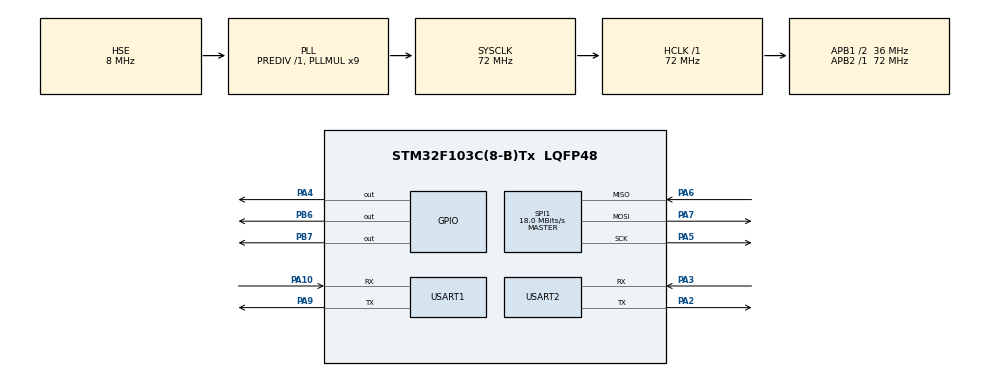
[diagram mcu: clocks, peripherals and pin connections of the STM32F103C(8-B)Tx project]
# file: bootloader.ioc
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Dma.Request0=USART2_RX
Dma.Request1=USART2_TX
Dma.Request2=USART1_RX
Dma.Request3=USART1_TX
Dma.USART1_RX.2.Direction=DMA_PERIPH_TO_MEMORY
Dma.USART1_RX.2.Instance=DMA1_Channel5
Dma.USART1_RX.2.MemDataAlignment=DMA_MDATAALIGN_BYTE
Dma.USART1_RX.2.MemInc=DMA_MINC_ENABLE
Dma.USART1_RX.2.Mode=DMA_CIRCULAR
Dma.USART1_RX.2.PeriphDataAlignment=DMA_PDATAALIGN_BYTE
Dma.USART1_RX.2.PeriphInc=DMA_PINC_DISABLE
Dma.USART1_RX.2.Priority=DMA_PRIORITY_LOW
Dma.USART1_TX.3.Direction=DMA_MEMORY_TO_PERIPH
Dma.USART1_TX.3.Instance=DMA1_Channel4
Dma.USART1_TX.3.MemDataAlignment=DMA_MDATAALIGN_BYTE
Dma.USART1_TX.3.MemInc=DMA_MINC_ENABLE
Dma.USART1_TX.3.Mode=DMA_NORMAL
Dma.USART1_TX.3.PeriphDataAlignment=DMA_PDATAALIGN_BYTE
Dma.USART1_TX.3.PeriphInc=DMA_PINC_DISABLE
Dma.USART1_TX.3.Priority=DMA_PRIORITY_LOW
Dma.USART2_RX.0.Direction=DMA_PERIPH_TO_MEMORY
Dma.USART2_RX.0.Instance=DMA1_Channel6
Dma.USART2_RX.0.MemDataAlignment=DMA_MDATAALIGN_BYTE
Dma.USART2_RX.0.MemInc=DMA_MINC_ENABLE
Dma.USART2_RX.0.Mode=DMA_CIRCULAR
Dma.USART2_RX.0.PeriphDataAlignment=DMA_PDATAALIGN_BYTE
Dma.USART2_RX.0.PeriphInc=DMA_PINC_DISABLE
Dma.USART2_RX.0.Priority=DMA_PRIORITY_LOW
Dma.USART2_TX.1.Direction=DMA_MEMORY_TO_PERIPH
Dma.USART2_TX.1.Instance=DMA1_Channel7
Dma.USART2_TX.1.MemDataAlignment=DMA_MDATAALIGN_BYTE
Dma.USART2_TX.1.MemInc=DMA_MINC_ENABLE
Dma.USART2_TX.1.Mode=DMA_NORMAL
Dma.USART2_TX.1.PeriphDataAlignment=DMA_PDATAALIGN_BYTE
Dma.USART2_TX.1.PeriphInc=DMA_PINC_DISABLE
Dma.USART2_TX.1.Priority=DMA_PRIORITY_LOW
Mcu.Family=STM32F1
Mcu.Name=STM32F103C(8-B)Tx
Mcu.Package=LQFP48
NVIC.DMA1_Channel4_IRQn=true\:0\:0\:false\:false\:true\:false\:true\:true
NVIC.DMA1_Channel5_IRQn=true\:0\:0\:false\:false\:true\:false\:true\:true
NVIC.DMA1_Channel6_IRQn=true\:0\:0\:false\:false\:true\:false\:true\:true
NVIC.DMA1_Channel7_IRQn=true\:0\:0\:false\:false\:true\:false\:true\:true
NVIC.PriorityGroup=NVIC_PRIORITYGROUP_4
NVIC.SPI1_IRQn=true\:0\:0\:false\:false\:true\:true\:true\:true
NVIC.USART1_IRQn=true\:0\:0\:false\:false\:true\:true\:true\:true
NVIC.USART2_IRQn=true\:0\:0\:false\:false\:true\:false\:true\:true
PA10.Mode=Asynchronous
PA10.Signal=USART1_RX
PA13.Mode=Serial_Wire
PA13.Signal=SYS_JTMS-SWDIO
PA14.Mode=Serial_Wire
PA14.Signal=SYS_JTCK-SWCLK
PA2.Mode=Asynchronous
PA2.Signal=USART2_TX
PA3.Mode=Asynchronous
PA3.Signal=USART2_RX
PA4.Signal=GPIO_Output
PA5.Mode=Full_Duplex_Master
PA5.Signal=SPI1_SCK
PA6.Mode=Full_Duplex_Master
PA6.Signal=SPI1_MISO
PA7.Mode=Full_Duplex_Master
PA7.Signal=SPI1_MOSI
PA9.Mode=Asynchronous
PA9.Signal=USART1_TX
PB6.GPIO_ModeDefaultOutputPP=GPIO_MODE_OUTPUT_OD
PB6.GPIO_PuPd=GPIO_PULLUP
PB6.Signal=GPIO_Output
PB7.GPIO_ModeDefaultOutputPP=GPIO_MODE_OUTPUT_OD
PB7.GPIO_PuPd=GPIO_PULLUP
PB7.Signal=GPIO_Output
PD0-OSC_IN.Mode=HSE-External-Oscillator
PD0-OSC_IN.Signal=RCC_OSC_IN
PD1-OSC_OUT.Mode=HSE-External-Oscillator
PD1-OSC_OUT.Signal=RCC_OSC_OUT
ProjectManager.HeapSize=0x200
ProjectManager.StackSize=0x400
ProjectManager.TargetToolchain=CMake
RCC.AHBFreq_Value=72000000
RCC.APB1CLKDivider=RCC_HCLK_DIV2
RCC.APB1Freq_Value=36000000
RCC.APB1TimFreq_Value=72000000
RCC.APB2Freq_Value=72000000
RCC.APB2TimFreq_Value=72000000
RCC.HCLKFreq_Value=72000000
RCC.PLLMUL=RCC_PLL_MUL9
RCC.PLLSourceVirtual=RCC_PLLSOURCE_HSE
RCC.SYSCLKFreq_VALUE=72000000
RCC.SYSCLKSource=RCC_SYSCLKSOURCE_PLLCLK
RCC.USBFreq_Value=48000000
RCC.USBPrescaler=RCC_USBCLKSOURCE_PLL_DIV1_5
SPI1.BaudRatePrescaler=SPI_BAUDRATEPRESCALER_4
SPI1.CalculateBaudRate=18.0 MBits/s
SPI1.Direction=SPI_DIRECTION_2LINES
SPI1.Mode=SPI_MODE_MASTER
SPI1.VirtualType=VM_MASTER
USART1.VirtualMode=VM_ASYNC
USART2.VirtualMode=VM_ASYNC
board=custom

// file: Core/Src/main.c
/* USER CODE BEGIN Header */
/**
  ******************************************************************************
  * @file           : main.c
  * @brief          : Main program body
  ******************************************************************************
  * @attention
  *
  * Copyright (c) 2026 STMicroelectronics.
  * All rights reserved.
  *
  * This software is licensed under terms that can be found in the LICENSE file
  * in the root directory of this software component.
  * If no LICENSE file comes with this software, it is provided AS-IS.
  *
  ******************************************************************************
  */
/* USER CODE END Header */
#include "main.h"
#include "dma.h"
#include "spi.h"
#include "usart.h"
#include "gpio.h"

/* USER CODE BEGIN Includes */
#include "delay.h"
#include "iic.h"
#include "at24c02.h"
#include "w25q64.h"
#include "fmc.h"
#include "boot.h"

#include <string.h>
#include <stdint.h>
/* USER CODE END Includes */

/* USER CODE BEGIN PD */
extern DMA_HandleTypeDef hdma_usart1_rx;
extern DMA_HandleTypeDef hdma_usart2_rx;
extern uint8_t UART1_RX_BUF[UART_RX_SIZE];
extern uint8_t UART2_RX_BUF[UART_RX_SIZE];
/* USER CODE END PD */

/* USER CODE BEGIN PV */
OTA_Setting OTA_Info;
Update_Setting Update_Info;
uint32_t Boot_Flag;
/* USER CODE END PV */

void SystemClock_Config(void);

int main(void)
{

  /* MCU Configuration--------------------------------------------------------*/

  /* Reset of all peripherals, Initializes the Flash interface and the Systick. */
  HAL_Init();

  /* Configure the system clock */
  SystemClock_Config();

  /* Initialize all configured peripherals */
  MX_GPIO_Init();
  MX_DMA_Init();
  MX_USART2_UART_Init();
  MX_SPI1_Init();
  MX_USART1_UART_Init();
  /* USER CODE BEGIN 2 */
  DWT_Init();
  UART_RX_PtrInit();
  IIC_Init();
  W25Q64_Init();
  /* 从 AT24C02 读取 OTA 标志、版本号和各文件大小。 */
  AT24C02_Read_OTASetting();
  if (OTA_Info.OTA_Flag == 0xFFFFFFFFU)
  {
    /* EEPROM 处于擦除态时写入初始版本号，后续启动不再覆盖用户版本。 */
    memset(&OTA_Info, 0, OTA_SETTING_SIZE);
    memcpy(OTA_Info.OTA_Ver, OTA_INIT_VERSION, OTA_VERSION_INPUT_LEN);
    AT24C02_Write_OTASetting();
  }

  /* 使用 DMA 循环接收串口数据，关闭半传输中断避免无用中断。 */
  HAL_UARTEx_ReceiveToIdle_DMA(&huart1, UART1_RX_BUF, UART_RX_SIZE);
  __HAL_DMA_DISABLE_IT(&hdma_usart1_rx, DMA_IT_HT);
  HAL_UARTEx_ReceiveToIdle_DMA(&huart2, UART2_RX_BUF, UART_RX_SIZE);
  __HAL_DMA_DISABLE_IT(&hdma_usart2_rx, DMA_IT_HT);

  /* 检测升级请求；无请求时尝试跳转到 A 区应用。 */
  Bootloader_Branch();
  /* USER CODE END 2 */

  /* Infinite loop */
  /* USER CODE BEGIN WHILE */
  while (1)
  {
    Delay_ms(10);

    /* 从 DMA 环形缓冲区取出数据，交给 Bootloader 状态机处理。 */
    uint8_t rx_byte;
    while (UART2_RX_Read(&rx_byte, 1) == 1)
    {
      Bootloader_Process_Byte(rx_byte);
    }

    if (Boot_Flag & UPDATEA_FLAG)
    {
      /* OTA 模式下，将外部 Flash 中选定的文件复制到内部 Flash A 区。 */
      uint32_t len = OTA_Info.File_Size[Update_Info.W25Q64_Block];
      uint16_t surplus = len % FLASH_PAGE_SIZE;

      UART2_SendString("长度 ");
      UART2_SendU32(len);
      UART2_SendString(" 字节\r\n");
      if (len != 0 && len <= FLASH_PAGEA_NUMBER * FLASH_PAGE_SIZE && len <= 64 * FLASH_PAGE_SIZE)
      {
        /* 复制前擦除整个 A 区，之后按页读取和写入。 */
        STM32_Erase_Flash(FLASH_PAGEB_NUMBER, FLASH_PAGEA_NUMBER);
        for (uint32_t i = 0; i < len / FLASH_PAGE_SIZE; i++)
        {
          W25Q64_Read_Data(Update_Info.Update_buf, Update_Info.W25Q64_Block * 64 * FLASH_PAGE_SIZE + i * FLASH_PAGE_SIZE, FLASH_PAGE_SIZE);
          STM32_Write_Flash(FLASH_PAGEA_START_ADDR + i * FLASH_PAGE_SIZE, (uint32_t*)Update_Info.Update_buf, FLASH_PAGE_SIZE);
        }
        if (surplus != 0)
        {
          W25Q64_Read_Data(Update_Info.Update_buf, Update_Info.W25Q64_Block * 64 * FLASH_PAGE_SIZE + len / FLASH_PAGE_SIZE * FLASH_PAGE_SIZE, surplus);
          STM32_Write_Flash(FLASH_PAGEA_START_ADDR + len / FLASH_PAGE_SIZE * FLASH_PAGE_SIZE,(uint32_t*)Update_Info.Update_buf, surplus);
        }
        if (Update_Info.W25Q64_Block == 0)
        {
          /* 块 0 表示当前 OTA 文件，成功搬运后清除 OTA 请求标志。 */
          OTA_Info.OTA_Flag = 0;
          AT24C02_Write_OTASetting();
        }
        NVIC_SystemReset();
      }
      else
      {
        UART2_SendString("长度错误\r\n");
        Boot_Flag &= ~UPDATEA_FLAG;
      }
    }

    if (Boot_Flag & IAP_XMODEMC_FLAG)
    {
      /* Xmodem 发送端未开始时，周期性发送字符 C 请求 CRC 模式。 */
      if (Update_Info.Xmodem_Timer >= 100)
      {
        Xmodem_Send_Cmd('C');
        Update_Info.Xmodem_Timer = 0;
      }
      Update_Info.Xmodem_Timer++;
    }
    /* USER CODE END WHILE */

  }
}

void SystemClock_Config(void)
{
  RCC_OscInitTypeDef RCC_OscInitStruct = {0};
  RCC_ClkInitTypeDef RCC_ClkInitStruct = {0};

  /** Initializes the RCC Oscillators according to the specified parameters
  * in the RCC_OscInitTypeDef structure.
  */
  RCC_OscInitStruct.OscillatorType = RCC_OSCILLATORTYPE_HSE;
  RCC_OscInitStruct.HSEState = RCC_HSE_ON;
  RCC_OscInitStruct.HSEPredivValue = RCC_HSE_PREDIV_DIV1;
  RCC_OscInitStruct.HSIState = RCC_HSI_ON;
  RCC_OscInitStruct.PLL.PLLState = RCC_PLL_ON;
  RCC_OscInitStruct.PLL.PLLSource = RCC_PLLSOURCE_HSE;
  RCC_OscInitStruct.PLL.PLLMUL = RCC_PLL_MUL9;
  if (HAL_RCC_OscConfig(&RCC_OscInitStruct) != HAL_OK)
  {
    Error_Handler();
  }

  /** Initializes the CPU, AHB and APB buses clocks
  */
  RCC_ClkInitStruct.ClockType = RCC_CLOCKTYPE_HCLK|RCC_CLOCKTYPE_SYSCLK
                              |RCC_CLOCKTYPE_PCLK1|RCC_CLOCKTYPE_PCLK2;
  RCC_ClkInitStruct.SYSCLKSource = RCC_SYSCLKSOURCE_PLLCLK;
  RCC_ClkInitStruct.AHBCLKDivider = RCC_SYSCLK_DIV1;
  RCC_ClkInitStruct.APB1CLKDivider = RCC_HCLK_DIV2;
  RCC_ClkInitStruct.APB2CLKDivider = RCC_HCLK_DIV1;

  if (HAL_RCC_ClockConfig(&RCC_ClkInitStruct, FLASH_LATENCY_2) != HAL_OK)
  {
    Error_Handler();
  }
}

void Error_Handler(void)
{
  __disable_irq();
  while (1)
  {
  }
}
